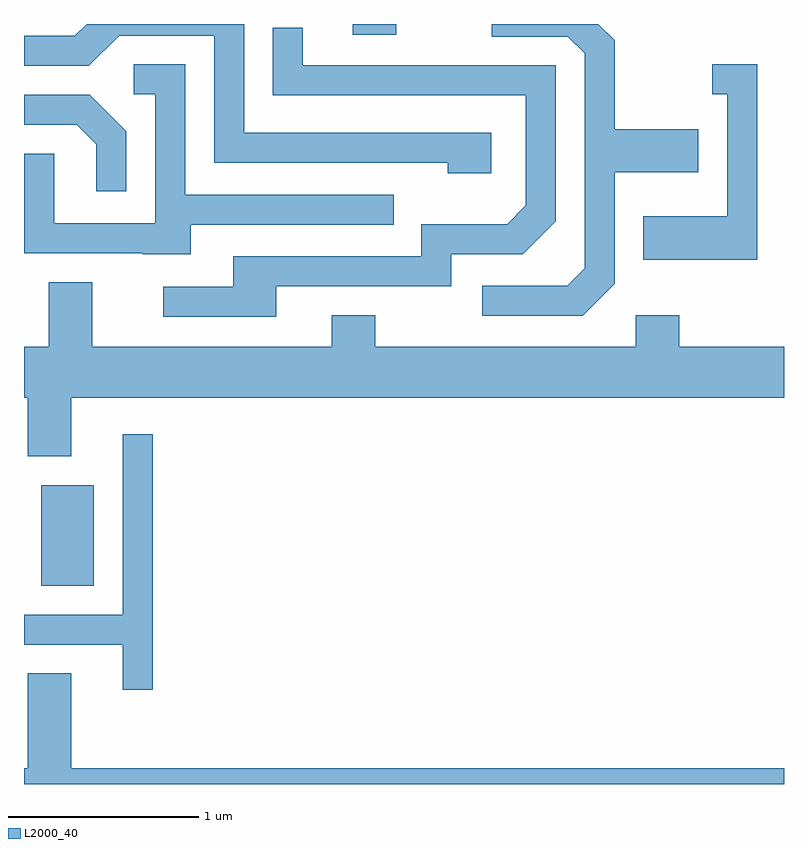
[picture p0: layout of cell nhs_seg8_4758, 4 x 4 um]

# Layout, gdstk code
import gdstk
lib = gdstk.Library(unit=1e-6, precision=1e-09)
def R(c, l, rs):  # rectangles x0, y0, x1, y1
    for r in rs: c.add(gdstk.rectangle(r[:2], r[2:], *l))
def P(c, l, *ps):  # polygons
    for p in ps: c.add(gdstk.Polygon(p, *l))
L2000_40 = (2000, 40)

nhs_seg8_4758 = lib.new_cell('nhs_seg8_4758')
R(nhs_seg8_4758, L2000_40, [(327.701,1875.386,327.979,1875.914), (329.341,1878.286,329.569,1878.342)])
P(nhs_seg8_4758, L2000_40, [(330.719,1876.974),(330.719,1877.561),(331.159,1877.561),(331.159,1877.789),(330.719,1877.789),(330.719,1878.257),(330.634,1878.342),(330.073,1878.342),(330.073,1878.276),(330.474,1878.276),(330.561,1878.189),(330.561,1877.057),(330.469,1876.964),(330.023,1876.964),(330.023,1876.806),(330.552,1876.806)],
  [(330.069,1877.769),(328.769,1877.769),(328.769,1878.342),(327.942,1878.342),(327.879,1878.279),(327.611,1878.279),(327.611,1878.121),(327.952,1878.121),(328.112,1878.281),(328.611,1878.281),(328.611,1877.611),(329.841,1877.611),(329.841,1877.556),(330.069,1877.556)],
  [(328.939,1876.961),(329.859,1876.961),(329.859,1877.131),(330.237,1877.131),(330.409,1877.304),(330.409,1878.124),(329.079,1878.124),(329.079,1878.323),(328.921,1878.323),(328.921,1877.966),(330.251,1877.966),(330.251,1877.387),(330.154,1877.289),(329.701,1877.289),(329.701,1877.119),(328.711,1877.119),(328.711,1876.959),(328.343,1876.959),(328.343,1876.801),(328.939,1876.801)],
  [(328.489,1877.286),(329.558,1877.286),(329.558,1877.444),(328.459,1877.444),(328.459,1878.129),(328.188,1878.129),(328.188,1877.971),(328.301,1877.971),(328.301,1877.294),(327.769,1877.294),(327.769,1877.659),(327.611,1877.659),(327.611,1877.136),(328.235,1877.136),(328.235,1877.131),(328.489,1877.131)],
  [(331.469,1878.129),(331.233,1878.129),(331.233,1877.971),(331.311,1877.971),(331.311,1877.329),(330.871,1877.329),(330.871,1877.101),(331.469,1877.101)],
  [(328.149,1877.777),(327.957,1877.969),(327.611,1877.969),(327.611,1877.811),(327.889,1877.811),(327.991,1877.709),(327.991,1877.463),(328.149,1877.463)],
  [(327.859,1876.376),(331.611,1876.376),(331.611,1876.644),(331.059,1876.644),(331.059,1876.809),(330.831,1876.809),(330.831,1876.644),(329.459,1876.644),(329.459,1876.809),(329.231,1876.809),(329.231,1876.644),(327.969,1876.644),(327.969,1876.984),(327.741,1876.984),(327.741,1876.644),(327.611,1876.644),(327.611,1876.376),(327.631,1876.376),(327.631,1876.066),(327.859,1876.066)],
  [(328.289,1876.183),(328.131,1876.183),(328.131,1875.234),(327.611,1875.234),(327.611,1875.076),(328.131,1875.076),(328.131,1874.838),(328.289,1874.838)],
  [(327.859,1874.924),(327.631,1874.924),(327.631,1874.424),(327.611,1874.424),(327.611,1874.342),(331.611,1874.342),(331.611,1874.424),(327.859,1874.424)])

lib.write_gds('nhs_seg8_4758.gds')
